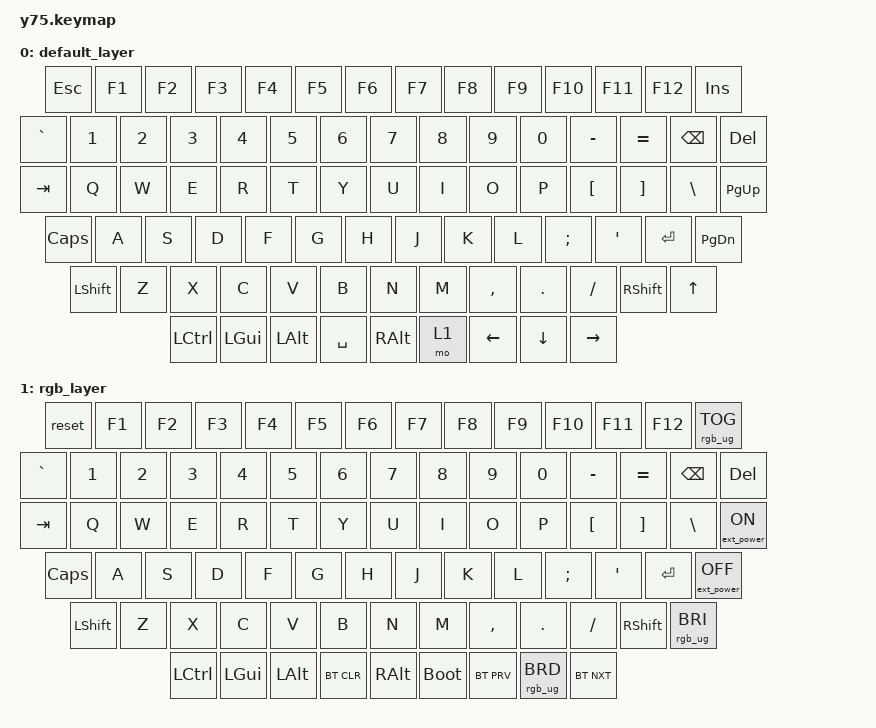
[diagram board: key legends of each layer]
/*
 * Copyright (c) 2021 Nick Winans
 *
 * SPDX-License-Identifier: MIT
 */

#include <behaviors.dtsi>
#include <dt-bindings/zmk/keys.h>
#include <dt-bindings/zmk/rgb.h>
#include <dt-bindings/zmk/bt.h>
#include <dt-bindings/zmk/outputs.h>
#include <dt-bindings/zmk/ext_power.h>

/ {
	keymap {
		compatible = "zmk,keymap";
		default_layer {
			 bindings = <
	 &kp ESC    &kp F1 &kp F2 &kp F3 &kp F4 &kp F5 &kp F6 &kp F7 &kp F8 &kp F9 &kp F10 &kp F11 &kp F12                &kp INS
	&kp GRAVE  &kp N1 &kp N2 &kp N3 &kp N4 &kp N5 &kp N6 &kp N7 &kp N8 &kp N9 &kp N0 &kp MINUS &kp EQUAL  &kp BSPC   &kp DEL
	&kp TAB  &kp Q  &kp W  &kp E  &kp R  &kp T  &kp Y  &kp U  &kp I  &kp O  &kp P  &kp LBKT  &kp RBKT  &kp BSLH      &kp PG_UP
	&kp CLCK  &kp A  &kp S  &kp D  &kp F  &kp G  &kp H  &kp J  &kp K  &kp L  &kp SEMI &kp SQT &kp RET                &kp PG_DN
	&kp LSHFT   &kp Z  &kp X  &kp C  &kp V  &kp B  &kp N  &kp M  &kp COMMA &kp DOT &kp FSLH   &kp RSHFT       &kp UP 
	&kp LCTRL &kp LGUI &kp LALT             &kp SPACE                     &kp RALT    &mo 1          &kp LEFT &kp DOWN &kp RIGHT
			>;
		};
		rgb_layer {
			bindings = <
	&reset   &kp F1 &kp F2 &kp F3 &kp F4 &kp F5 &kp F6 &kp F7 &kp F8 &kp F9 &kp F10 &kp F11 &kp F12                            &rgb_ug RGB_TOG
	&kp GRAVE  &kp N1 &kp N2 &kp N3 &kp N4 &kp N5 &kp N6 &kp N7 &kp N8 &kp N9 &kp N0 &kp MINUS &kp EQUAL  &kp BSPC             &kp DEL
	&kp TAB  &kp Q  &kp W  &kp E  &kp R  &kp T  &kp Y  &kp U  &kp I  &kp O  &kp P  &kp LBKT  &kp RBKT  &kp BSLH                &ext_power EP_ON
	&kp CLCK  &kp A  &kp S  &kp D  &kp F  &kp G  &kp H  &kp J  &kp K  &kp L  &kp SEMI &kp SQT &kp RET                          &ext_power EP_OFF
	&kp LSHFT   &kp Z  &kp X  &kp C  &kp V  &kp B  &kp N  &kp M  &kp COMMA &kp DOT &kp FSLH   &kp RSHFT              &rgb_ug RGB_BRI
	&kp LCTRL &kp LGUI &kp LALT            &bt BT_CLR                    &kp RALT    &bootloader          &bt BT_PRV &rgb_ug RGB_BRD &bt BT_NXT
			>;
		};
	};
};
